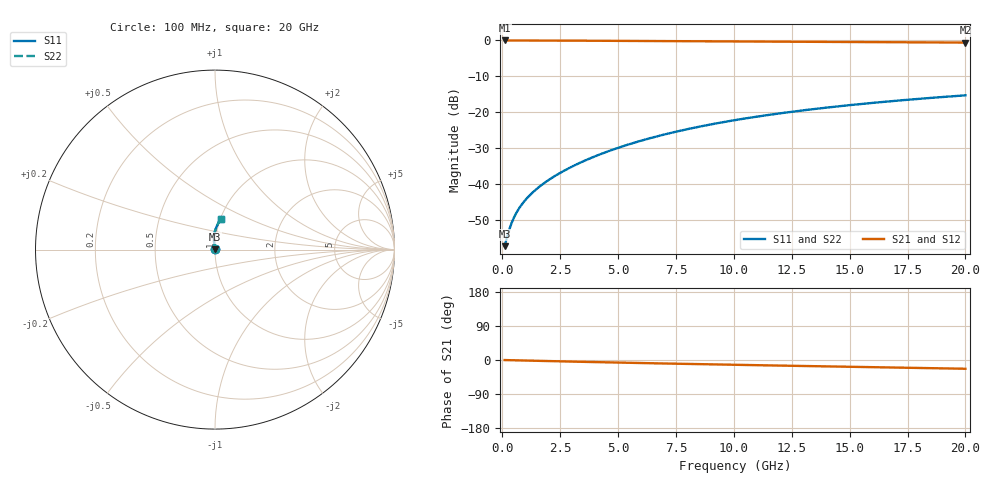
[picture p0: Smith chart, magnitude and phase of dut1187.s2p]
! Touchstone file exported from HFSS 2024.1.0
!  File:  C:/UserFiles/LocalFiles/RDL_TSV_Batchsim/temp_RDL_bottom_1187_1780057525.aedt
!  Generated:  08:27:26 PM May 29, 2026
!  Design:  RDL_bottom
!  Project:  temp_RDL_bottom_1187_1780057525
!  Setup:  Setup1
!  Solution:  Sweep
! Variables:
!  dtsv = 10.80580581um
!  hbump = 3um
!  htsv = 60.05um
!  ldown = 365.45um
!  lrdl = 100um
!  p = 40
!  p1 = 45.19um
!  rhole = 1um
!  t = 450um
!  tdown = 4.67um
!  trdl = 3.915915916um
!  wdown = 28.56um
!  wrdl = 20um
# GHz S MA R 50.000000
! Terminal data exported
! Port[1] = RDL1_T1
! Port[2] = RDL1_T2
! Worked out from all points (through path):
!   200 points, 100 MHz to 20 GHz, reference 50 ohm
!   highest |S21| = -0.01 dB at 100 MHz (marker M1); lowest = -0.6 dB at 20 GHz (marker M2)
!   group delay of S21, straight-line fit = 3.15 ps
!   lowest |S11| = -57.2 dB at 100 MHz (marker M3), VSWR 1.00, Z = 50.1 + j0.0711 ohm
!   |S11| at or under -10 dB: start of sweep to end of sweep
!   |S22| runs from -57.2 to -15.3 dB; largest |S21 - S12| = 3.1e-15
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0.1  0.001385 30.8  0.9988 -0.2  0.9988 -0.2  0.001385 30.8
! Gamma 0 0 0 0
! Port Impedance 50 0 50 0
0.3  0.002346 60.2  0.9985 -0.4  0.9985 -0.4  0.002346 60.2
0.4  0.002894 66.3  0.9984 -0.6  0.9984 -0.6  0.002895 66.3
0.5  0.003442 70.1  0.9983 -0.7  0.9983 -0.7  0.003443 70.1
0.6  0.003984 72.7  0.9982 -0.9  0.9982 -0.9  0.003984 72.7
0.8  0.005046 76.3  0.998 -1.2  0.998 -1.2  0.005046 76.3
1.1  0.006612 80.1  0.9976 -1.6  0.9976 -1.6  0.006612 80.1
1.5  0.008724 83.9  0.9969 -2.1  0.9969 -2.1  0.008724 83.9
1.8  0.01036 86.3  0.9962 -2.6  0.9962 -2.6  0.01036 86.3
2.1  0.01206 88.3  0.9955 -3.0  0.9955 -3.0  0.01206 88.3
2.8  0.0163 91.9  0.9935 -3.9  0.9935 -3.9  0.0163 91.9
3.5  0.02094 94.4  0.9911 -4.9  0.9911 -4.9  0.02094 94.4
4.2  0.02597 96.0  0.9884 -5.8  0.9884 -5.8  0.02597 96.0
5  0.03217 97.0  0.9852 -6.8  0.9852 -6.8  0.03217 97.0
5.9  0.03964 97.4  0.9814 -7.9  0.9814 -7.9  0.03964 97.4
6.8  0.04753 97.2  0.9776 -9.0  0.9776 -9.0  0.04753 97.2
8.4  0.0623 95.9  0.9711 -10.8  0.9711 -10.8  0.0623 95.9
10.1  0.0786 93.7  0.9646 -12.7  0.9646 -12.7  0.0786 93.7
11.7  0.09417 91.4  0.9589 -14.4  0.9589 -14.4  0.09417 91.4
13.4  0.1107 88.8  0.9532 -16.2  0.9532 -16.2  0.1107 88.8
16.7  0.1422 83.8  0.943 -19.7  0.943 -19.7  0.1423 83.9
20  0.1726 79.1  0.9334 -23.1  0.9334 -23.1  0.1726 79.1
